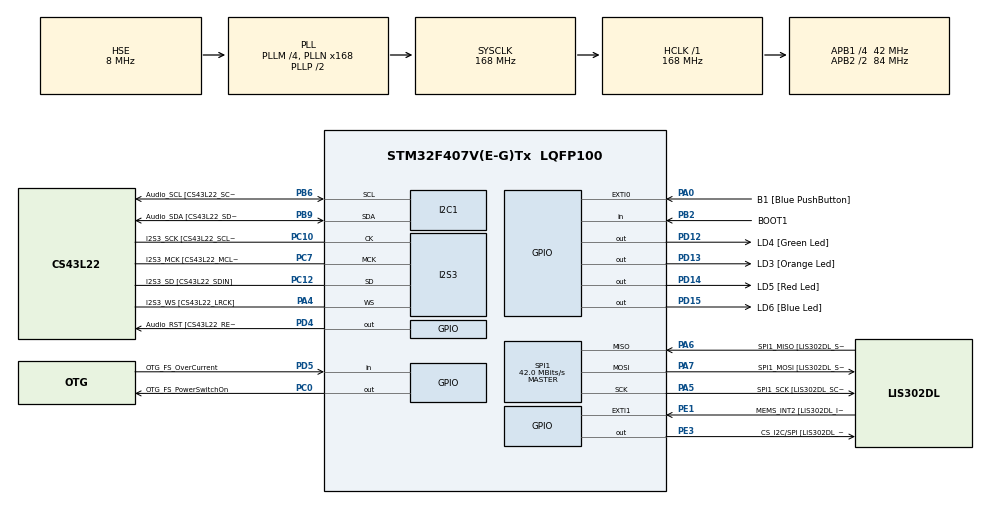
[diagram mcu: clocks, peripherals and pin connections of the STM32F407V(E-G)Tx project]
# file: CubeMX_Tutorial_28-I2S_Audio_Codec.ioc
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Dma.Request0=SPI3_TX
Dma.SPI3_TX.0.Direction=DMA_MEMORY_TO_PERIPH
Dma.SPI3_TX.0.FIFOMode=DMA_FIFOMODE_ENABLE
Dma.SPI3_TX.0.FIFOThreshold=DMA_FIFO_THRESHOLD_FULL
Dma.SPI3_TX.0.Instance=DMA1_Stream5
Dma.SPI3_TX.0.MemBurst=DMA_MBURST_SINGLE
Dma.SPI3_TX.0.MemDataAlignment=DMA_MDATAALIGN_HALFWORD
Dma.SPI3_TX.0.MemInc=DMA_MINC_ENABLE
Dma.SPI3_TX.0.Mode=DMA_CIRCULAR
Dma.SPI3_TX.0.PeriphBurst=DMA_PBURST_SINGLE
Dma.SPI3_TX.0.PeriphDataAlignment=DMA_PDATAALIGN_HALFWORD
Dma.SPI3_TX.0.PeriphInc=DMA_PINC_DISABLE
Dma.SPI3_TX.0.Priority=DMA_PRIORITY_MEDIUM
I2S3.AudioFreq=I2S_AUDIOFREQ_48K
I2S3.ErrorAudioFreq=1.72 %
I2S3.FullDuplexMode=I2S_FULLDUPLEXMODE_DISABLE
I2S3.Instance=SPI$Index
I2S3.RealAudioFreq=48.828 KHz
I2S3.VirtualMode=I2S_MODE_MASTER
Mcu.Family=STM32F4
Mcu.Name=STM32F407V(E-G)Tx
Mcu.Package=LQFP100
NVIC.DMA1_Stream5_IRQn=true\:0\:0\:false\:false\:true\:false\:true
NVIC.PriorityGroup=NVIC_PRIORITYGROUP_0
NVIC.TIM2_IRQn=true\:0\:0\:false\:false\:true\:true\:true
PA0-WKUP.GPIO_Label=B1 [Blue PushButton]
PA0-WKUP.GPIO_ModeDefaultEXTI=GPIO_MODE_EVT_RISING
PA0-WKUP.GPIO_PuPd=GPIO_NOPULL
PA0-WKUP.Signal=GPXTI0
PA10.GPIO_Label=OTG_FS_ID
PA10.GPIO_Mode=GPIO_MODE_AF_PP
PA10.GPIO_PuPd=GPIO_NOPULL
PA10.GPIO_Speed=GPIO_SPEED_FREQ_LOW
PA10.Signal=USB_OTG_FS_ID
PA11.GPIO_Label=OTG_FS_DM
PA11.GPIO_Mode=GPIO_MODE_AF_PP
PA11.GPIO_PuPd=GPIO_NOPULL
PA11.GPIO_Speed=GPIO_SPEED_FREQ_LOW
PA11.Signal=USB_OTG_FS_DM
PA12.GPIO_Label=OTG_FS_DP
PA12.GPIO_Mode=GPIO_MODE_AF_PP
PA12.GPIO_PuPd=GPIO_NOPULL
PA12.GPIO_Speed=GPIO_SPEED_FREQ_LOW
PA12.Signal=USB_OTG_FS_DP
PA13.GPIO_Label=SWDIO
PA13.Mode=Serial_Wire
PA13.Signal=SYS_JTMS-SWDIO
PA14.GPIO_Label=SWCLK
PA14.Mode=Serial_Wire
PA14.Signal=SYS_JTCK-SWCLK
PA4.GPIO_Label=I2S3_WS [CS43L22_LRCK]
PA4.GPIO_Mode=GPIO_MODE_AF_PP
PA4.GPIO_PuPd=GPIO_NOPULL
PA4.GPIO_Speed=GPIO_SPEED_FREQ_LOW
PA4.Mode=Half_Duplex_Master
PA4.Signal=I2S3_WS
PA5.GPIO_Label=SPI1_SCK [LIS302DL_SCL/SPC]
PA5.GPIO_Mode=GPIO_MODE_AF_PP
PA5.GPIO_PuPd=GPIO_NOPULL
PA5.GPIO_Speed=GPIO_SPEED_FREQ_LOW
PA5.Mode=Full_Duplex_Master
PA5.Signal=SPI1_SCK
PA6.GPIO_Label=SPI1_MISO [LIS302DL_SDO]
PA6.GPIO_Mode=GPIO_MODE_AF_PP
PA6.GPIO_PuPd=GPIO_NOPULL
PA6.GPIO_Speed=GPIO_SPEED_FREQ_LOW
PA6.Mode=Full_Duplex_Master
PA6.Signal=SPI1_MISO
PA7.GPIO_Label=SPI1_MOSI [LIS302DL_SDA/SDI/SDO]
PA7.GPIO_Mode=GPIO_MODE_AF_PP
PA7.GPIO_PuPd=GPIO_NOPULL
PA7.GPIO_Speed=GPIO_SPEED_FREQ_LOW
PA7.Mode=Full_Duplex_Master
PA7.Signal=SPI1_MOSI
PA9.GPIO_Label=VBUS_FS
PA9.GPIO_Mode=GPIO_MODE_INPUT
PA9.GPIO_PuPd=GPIO_NOPULL
PA9.Signal=USB_OTG_FS_VBUS
PB10.GPIO_Label=CLK_IN [MP45DT02_CLK]
PB10.GPIO_Mode=GPIO_MODE_AF_PP
PB10.GPIO_PuPd=GPIO_NOPULL
PB10.GPIO_Speed=GPIO_SPEED_FREQ_LOW
PB10.Signal=I2S2_CK
PB2.GPIO_Label=BOOT1
PB2.GPIO_Mode=GPIO_MODE_INPUT
PB2.GPIO_PuPd=GPIO_NOPULL
PB2.Signal=GPIO_Input
PB3.GPIO_Label=SWO
PB3.Signal=SYS_JTDO-SWO
PB6.GPIO_Label=Audio_SCL [CS43L22_SCL]
PB6.GPIO_Mode=GPIO_MODE_AF_OD
PB6.GPIO_PuPd=GPIO_NOPULL
PB6.GPIO_Speed=GPIO_SPEED_FREQ_LOW
PB6.Mode=I2C
PB6.Signal=I2C1_SCL
PB9.GPIO_Label=Audio_SDA [CS43L22_SDA]
PB9.GPIO_Mode=GPIO_MODE_AF_OD
PB9.GPIO_PuPd=GPIO_NOPULL
PB9.GPIO_Speed=GPIO_SPEED_FREQ_LOW
PB9.Mode=I2C
PB9.Signal=I2C1_SDA
PC0.GPIO_Label=OTG_FS_PowerSwitchOn
PC0.GPIO_PuPd=GPIO_NOPULL
PC0.GPIO_Speed=GPIO_SPEED_FREQ_LOW
PC0.PinState=GPIO_PIN_SET
PC0.Signal=GPIO_Output
PC10.GPIO_Label=I2S3_SCK [CS43L22_SCLK]
PC10.GPIO_Mode=GPIO_MODE_AF_PP
PC10.GPIO_PuPd=GPIO_NOPULL
PC10.GPIO_Speed=GPIO_SPEED_FREQ_LOW
PC10.Mode=Half_Duplex_Master
PC10.Signal=I2S3_CK
PC12.GPIO_Label=I2S3_SD [CS43L22_SDIN]
PC12.GPIO_Mode=GPIO_MODE_AF_PP
PC12.GPIO_PuPd=GPIO_NOPULL
PC12.GPIO_Speed=GPIO_SPEED_FREQ_LOW
PC12.Mode=Half_Duplex_Master
PC12.Signal=I2S3_SD
PC14-OSC32_IN.GPIO_Label=PC14-OSC32_IN
PC14-OSC32_IN.Mode=LSE-External-Oscillator
PC14-OSC32_IN.Signal=RCC_OSC32_IN
PC15-OSC32_OUT.GPIO_Label=PC15-OSC32_OUT
PC15-OSC32_OUT.Mode=LSE-External-Oscillator
PC15-OSC32_OUT.Signal=RCC_OSC32_OUT
PC3.GPIO_Label=PDM_OUT [MP45DT02_DOUT]
PC3.GPIO_Mode=GPIO_MODE_AF_PP
PC3.GPIO_PuPd=GPIO_NOPULL
PC3.GPIO_Speed=GPIO_SPEED_FREQ_LOW
PC3.Signal=I2S2_SD
PC7.GPIO_Label=I2S3_MCK [CS43L22_MCLK]
PC7.GPIO_Mode=GPIO_MODE_AF_PP
PC7.GPIO_PuPd=GPIO_NOPULL
PC7.GPIO_Speed=GPIO_SPEED_FREQ_LOW
PC7.Mode=Master_Clock_Activated
PC7.Signal=I2S3_MCK
PD12.GPIO_Label=LD4 [Green Led]
PD12.GPIO_PuPd=GPIO_NOPULL
PD12.GPIO_Speed=GPIO_SPEED_FREQ_LOW
PD12.Signal=GPIO_Output
PD13.GPIO_Label=LD3 [Orange Led]
PD13.GPIO_PuPd=GPIO_NOPULL
PD13.GPIO_Speed=GPIO_SPEED_FREQ_LOW
PD13.Signal=GPIO_Output
PD14.GPIO_Label=LD5 [Red Led]
PD14.GPIO_PuPd=GPIO_NOPULL
PD14.GPIO_Speed=GPIO_SPEED_FREQ_LOW
PD14.Signal=GPIO_Output
PD15.GPIO_Label=LD6 [Blue Led]
PD15.GPIO_PuPd=GPIO_NOPULL
PD15.GPIO_Speed=GPIO_SPEED_FREQ_LOW
PD15.Signal=GPIO_Output
PD4.GPIO_Label=Audio_RST [CS43L22_RESET]
PD4.GPIO_PuPd=GPIO_NOPULL
PD4.GPIO_Speed=GPIO_SPEED_FREQ_LOW
PD4.Signal=GPIO_Output
PD5.GPIO_Label=OTG_FS_OverCurrent
PD5.GPIO_Mode=GPIO_MODE_INPUT
PD5.GPIO_PuPd=GPIO_NOPULL
PD5.Signal=GPIO_Input
PE1.GPIO_Label=MEMS_INT2 [LIS302DL_INT2]
PE1.GPIO_ModeDefaultEXTI=GPIO_MODE_EVT_RISING
PE1.GPIO_PuPd=GPIO_NOPULL
PE1.Signal=GPXTI1
PE3.GPIO_Label=CS_I2C/SPI [LIS302DL_CS_I2C/SPI]
PE3.GPIO_PuPd=GPIO_NOPULL
PE3.GPIO_Speed=GPIO_SPEED_FREQ_LOW
PE3.Signal=GPIO_Output
PH0-OSC_IN.GPIO_Label=PH0-OSC_IN
PH0-OSC_IN.Mode=HSE-External-Oscillator
PH0-OSC_IN.Signal=RCC_OSC_IN
PH1-OSC_OUT.GPIO_Label=PH1-OSC_OUT
PH1-OSC_OUT.Mode=HSE-External-Oscillator
PH1-OSC_OUT.Signal=RCC_OSC_OUT
ProjectManager.HeapSize=0x200
ProjectManager.StackSize=0x400
ProjectManager.TargetToolchain=SW4STM32
RCC.48MHZClocksFreq_Value=48000000
RCC.AHBFreq_Value=168000000
RCC.APB1CLKDivider=RCC_HCLK_DIV4
RCC.APB1Freq_Value=42000000
RCC.APB1TimFreq_Value=84000000
RCC.APB2CLKDivider=RCC_HCLK_DIV2
RCC.APB2Freq_Value=84000000
RCC.APB2TimFreq_Value=168000000
RCC.CortexFreq_Value=168000000
RCC.HCLKFreq_Value=168000000
RCC.HSE_VALUE=8000000
RCC.HSI_VALUE=16000000
RCC.PLLI2SN=50
RCC.PLLM=4
RCC.PLLN=168
RCC.PLLQ=7
RCC.PLLSourceVirtual=RCC_PLLSOURCE_HSE
RCC.SYSCLKFreq_VALUE=168000000
RCC.SYSCLKSource=RCC_SYSCLKSOURCE_PLLCLK
RCC.VCOOutputFreq_Value=336000000
SPI1.BaudRatePrescaler=SPI_BAUDRATEPRESCALER_2
SPI1.BaudRatePrescaler-Full_Duplex_Master=SPI_BAUDRATEPRESCALER_2
SPI1.CalculateBaudRate=42.0 MBits/s
SPI1.CalculateBaudRate-Full_Duplex_Master=42.0 MBits/s
SPI1.Direction=SPI_DIRECTION_2LINES
SPI1.Mode=SPI_MODE_MASTER
SPI1.Mode-Full_Duplex_Master=SPI_MODE_MASTER
SPI1.VirtualType=VM_MASTER
TIM2.Period=20-1
TIM2.Prescaler=84-1
VP_TIM2_VS_ClockSourceINT.Mode=Internal
board=STM32F4DISCOVERY

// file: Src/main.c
/* USER CODE BEGIN Header */
/**
  ******************************************************************************
  * @file           : main.c
  * @brief          : Main program body
  ******************************************************************************
  * @attention
  *
  * <h2><center>&copy; Copyright (c) 2019 STMicroelectronics.
  * All rights reserved.</center></h2>
  *
  * This software component is licensed by ST under BSD 3-Clause license,
  * the "License"; You may not use this file except in compliance with the
  * License. You may obtain a copy of the License at:
  *                        opensource.org/licenses/BSD-3-Clause
  *
  ******************************************************************************
  */
/* USER CODE END Header */

#include "main.h"

/* USER CODE BEGIN Includes */
#include "MY_CS43L22.h"
#include <math.h>
/* USER CODE END Includes */

/* USER CODE BEGIN PD */
#define PI 3.1415926f
#define F_S 48828.0f
#define F_OUT 1000.0f
/* USER CODE END PD */

I2C_HandleTypeDef hi2c1;

I2S_HandleTypeDef hi2s3;
DMA_HandleTypeDef hdma_spi3_tx;

SPI_HandleTypeDef hspi1;

TIM_HandleTypeDef htim2;

/* USER CODE BEGIN PV */
float mySinVal;
float sample_dt;
uint16_t sample_N;
uint16_t i_t;
uint32_t myDacVal;
uint16_t dataI2S[100];
/* USER CODE END PV */

void SystemClock_Config(void);
static void MX_GPIO_Init(void);
static void MX_DMA_Init(void);
static void MX_I2C1_Init(void);
static void MX_I2S3_Init(void);
static void MX_SPI1_Init(void);
static void MX_TIM2_Init(void);

int main(void)
{
  /* USER CODE BEGIN 1 */
  sample_dt = F_OUT/F_S;
  sample_N = F_S/F_OUT;
  /* USER CODE END 1 */

  /* MCU Configuration--------------------------------------------------------*/

  /* Reset of all peripherals, Initializes the Flash interface and the Systick. */
  HAL_Init();

  /* Configure the system clock */
  SystemClock_Config();

  /* Initialize all configured peripherals */
  MX_GPIO_Init();
  MX_DMA_Init();
  MX_I2C1_Init();
  MX_I2S3_Init();
  MX_SPI1_Init();
  MX_TIM2_Init();
  /* USER CODE BEGIN 2 */
  CS43_Init(hi2c1, MODE_I2S);
  CS43_SetVolume(15);
  CS43_Enable_RightLeft(CS43_RIGHT_LEFT);
  CS43_Start();

  //Build Sine wave
	for(uint16_t i=0; i<sample_N; i++)
	{
		mySinVal = sinf(i*2*PI*sample_dt);
		dataI2S[i*2] = (mySinVal )*4000;    //Right data (0 2 4 6 8 10 12)
		dataI2S[i*2 + 1] =(mySinVal )*4000; //Left data  (1 3 5 7 9 11 13)
	}

  HAL_I2S_Transmit_DMA(&hi2s3, (uint16_t *)dataI2S, sample_N*2);

  // HAL_DAC_Start(&hdac, DAC_CHANNEL_1);
  // HAL_TIM_Base_Start_IT(&htim2);
  /* USER CODE END 2 */

  /* Infinite loop */
  while (1)
  {

  }
}

void SystemClock_Config(void)
{
  RCC_OscInitTypeDef RCC_OscInitStruct = {0};
  RCC_ClkInitTypeDef RCC_ClkInitStruct = {0};
  RCC_PeriphCLKInitTypeDef PeriphClkInitStruct = {0};

  /** Configure the main internal regulator output voltage
  */
  __HAL_RCC_PWR_CLK_ENABLE();
  __HAL_PWR_VOLTAGESCALING_CONFIG(PWR_REGULATOR_VOLTAGE_SCALE1);
  /** Initializes the CPU, AHB and APB busses clocks
  */
  RCC_OscInitStruct.OscillatorType = RCC_OSCILLATORTYPE_HSE;
  RCC_OscInitStruct.HSEState = RCC_HSE_ON;
  RCC_OscInitStruct.PLL.PLLState = RCC_PLL_ON;
  RCC_OscInitStruct.PLL.PLLSource = RCC_PLLSOURCE_HSE;
  RCC_OscInitStruct.PLL.PLLM = 4;
  RCC_OscInitStruct.PLL.PLLN = 168;
  RCC_OscInitStruct.PLL.PLLP = RCC_PLLP_DIV2;
  RCC_OscInitStruct.PLL.PLLQ = 7;
  if (HAL_RCC_OscConfig(&RCC_OscInitStruct) != HAL_OK)
  {
    Error_Handler();
  }
  /** Initializes the CPU, AHB and APB busses clocks
  */
  RCC_ClkInitStruct.ClockType = RCC_CLOCKTYPE_HCLK|RCC_CLOCKTYPE_SYSCLK
                              |RCC_CLOCKTYPE_PCLK1|RCC_CLOCKTYPE_PCLK2;
  RCC_ClkInitStruct.SYSCLKSource = RCC_SYSCLKSOURCE_PLLCLK;
  RCC_ClkInitStruct.AHBCLKDivider = RCC_SYSCLK_DIV1;
  RCC_ClkInitStruct.APB1CLKDivider = RCC_HCLK_DIV4;
  RCC_ClkInitStruct.APB2CLKDivider = RCC_HCLK_DIV2;

  if (HAL_RCC_ClockConfig(&RCC_ClkInitStruct, FLASH_LATENCY_5) != HAL_OK)
  {
    Error_Handler();
  }
  PeriphClkInitStruct.PeriphClockSelection = RCC_PERIPHCLK_I2S;
  PeriphClkInitStruct.PLLI2S.PLLI2SN = 50;
  PeriphClkInitStruct.PLLI2S.PLLI2SR = 2;
  if (HAL_RCCEx_PeriphCLKConfig(&PeriphClkInitStruct) != HAL_OK)
  {
    Error_Handler();
  }
}

static void MX_I2C1_Init(void)
{

  hi2c1.Instance = I2C1;
  hi2c1.Init.ClockSpeed = 100000;
  hi2c1.Init.DutyCycle = I2C_DUTYCYCLE_2;
  hi2c1.Init.OwnAddress1 = 0;
  hi2c1.Init.AddressingMode = I2C_ADDRESSINGMODE_7BIT;
  hi2c1.Init.DualAddressMode = I2C_DUALADDRESS_DISABLE;
  hi2c1.Init.OwnAddress2 = 0;
  hi2c1.Init.GeneralCallMode = I2C_GENERALCALL_DISABLE;
  hi2c1.Init.NoStretchMode = I2C_NOSTRETCH_DISABLE;
  if (HAL_I2C_Init(&hi2c1) != HAL_OK)
  {
    Error_Handler();
  }

}

static void MX_I2S3_Init(void)
{

  hi2s3.Instance = SPI3;
  hi2s3.Init.Mode = I2S_MODE_MASTER_TX;
  hi2s3.Init.Standard = I2S_STANDARD_PHILIPS;
  hi2s3.Init.DataFormat = I2S_DATAFORMAT_16B;
  hi2s3.Init.MCLKOutput = I2S_MCLKOUTPUT_ENABLE;
  hi2s3.Init.AudioFreq = I2S_AUDIOFREQ_48K;
  hi2s3.Init.CPOL = I2S_CPOL_LOW;
  hi2s3.Init.ClockSource = I2S_CLOCK_PLL;
  hi2s3.Init.FullDuplexMode = I2S_FULLDUPLEXMODE_DISABLE;
  if (HAL_I2S_Init(&hi2s3) != HAL_OK)
  {
    Error_Handler();
  }

}

static void MX_SPI1_Init(void)
{

  /* SPI1 parameter configuration*/
  hspi1.Instance = SPI1;
  hspi1.Init.Mode = SPI_MODE_MASTER;
  hspi1.Init.Direction = SPI_DIRECTION_2LINES;
  hspi1.Init.DataSize = SPI_DATASIZE_8BIT;
  hspi1.Init.CLKPolarity = SPI_POLARITY_LOW;
  hspi1.Init.CLKPhase = SPI_PHASE_1EDGE;
  hspi1.Init.NSS = SPI_NSS_SOFT;
  hspi1.Init.BaudRatePrescaler = SPI_BAUDRATEPRESCALER_2;
  hspi1.Init.FirstBit = SPI_FIRSTBIT_MSB;
  hspi1.Init.TIMode = SPI_TIMODE_DISABLE;
  hspi1.Init.CRCCalculation = SPI_CRCCALCULATION_DISABLE;
  hspi1.Init.CRCPolynomial = 10;
  if (HAL_SPI_Init(&hspi1) != HAL_OK)
  {
    Error_Handler();
  }

}

static void MX_TIM2_Init(void)
{

  TIM_ClockConfigTypeDef sClockSourceConfig = {0};
  TIM_MasterConfigTypeDef sMasterConfig = {0};

  htim2.Instance = TIM2;
  htim2.Init.Prescaler = 84-1;
  htim2.Init.CounterMode = TIM_COUNTERMODE_UP;
  htim2.Init.Period = 20-1;
  htim2.Init.ClockDivision = TIM_CLOCKDIVISION_DIV1;
  htim2.Init.AutoReloadPreload = TIM_AUTORELOAD_PRELOAD_DISABLE;
  if (HAL_TIM_Base_Init(&htim2) != HAL_OK)
  {
    Error_Handler();
  }
  sClockSourceConfig.ClockSource = TIM_CLOCKSOURCE_INTERNAL;
  if (HAL_TIM_ConfigClockSource(&htim2, &sClockSourceConfig) != HAL_OK)
  {
    Error_Handler();
  }
  sMasterConfig.MasterOutputTrigger = TIM_TRGO_RESET;
  sMasterConfig.MasterSlaveMode = TIM_MASTERSLAVEMODE_DISABLE;
  if (HAL_TIMEx_MasterConfigSynchronization(&htim2, &sMasterConfig) != HAL_OK)
  {
    Error_Handler();
  }

}

static void MX_DMA_Init(void)
{
  /* DMA controller clock enable */
  __HAL_RCC_DMA1_CLK_ENABLE();

  /* DMA interrupt init */
  /* DMA1_Stream5_IRQn interrupt configuration */
  HAL_NVIC_SetPriority(DMA1_Stream5_IRQn, 0, 0);
  HAL_NVIC_EnableIRQ(DMA1_Stream5_IRQn);

}

static void MX_GPIO_Init(void)
{
  GPIO_InitTypeDef GPIO_InitStruct = {0};

  /* GPIO Ports Clock Enable */
  __HAL_RCC_GPIOE_CLK_ENABLE();
  __HAL_RCC_GPIOC_CLK_ENABLE();
  __HAL_RCC_GPIOH_CLK_ENABLE();
  __HAL_RCC_GPIOA_CLK_ENABLE();
  __HAL_RCC_GPIOB_CLK_ENABLE();
  __HAL_RCC_GPIOD_CLK_ENABLE();

  /*Configure GPIO pin Output Level */
  HAL_GPIO_WritePin(CS_I2C_SPI_GPIO_Port, CS_I2C_SPI_Pin, GPIO_PIN_RESET);

  /*Configure GPIO pin Output Level */
  HAL_GPIO_WritePin(OTG_FS_PowerSwitchOn_GPIO_Port, OTG_FS_PowerSwitchOn_Pin, GPIO_PIN_SET);

  /*Configure GPIO pin Output Level */
  HAL_GPIO_WritePin(GPIOD, LD4_Pin|LD3_Pin|LD5_Pin|LD6_Pin
                          |Audio_RST_Pin, GPIO_PIN_RESET);

  /*Configure GPIO pin : CS_I2C_SPI_Pin */
  GPIO_InitStruct.Pin = CS_I2C_SPI_Pin;
  GPIO_InitStruct.Mode = GPIO_MODE_OUTPUT_PP;
  GPIO_InitStruct.Pull = GPIO_NOPULL;
  GPIO_InitStruct.Speed = GPIO_SPEED_FREQ_LOW;
  HAL_GPIO_Init(CS_I2C_SPI_GPIO_Port, &GPIO_InitStruct);

  /*Configure GPIO pin : OTG_FS_PowerSwitchOn_Pin */
  GPIO_InitStruct.Pin = OTG_FS_PowerSwitchOn_Pin;
  GPIO_InitStruct.Mode = GPIO_MODE_OUTPUT_PP;
  GPIO_InitStruct.Pull = GPIO_NOPULL;
  GPIO_InitStruct.Speed = GPIO_SPEED_FREQ_LOW;
  HAL_GPIO_Init(OTG_FS_PowerSwitchOn_GPIO_Port, &GPIO_InitStruct);

  /*Configure GPIO pin : PDM_OUT_Pin */
  GPIO_InitStruct.Pin = PDM_OUT_Pin;
  GPIO_InitStruct.Mode = GPIO_MODE_AF_PP;
  GPIO_InitStruct.Pull = GPIO_NOPULL;
  GPIO_InitStruct.Speed = GPIO_SPEED_FREQ_LOW;
  GPIO_InitStruct.Alternate = GPIO_AF5_SPI2;
  HAL_GPIO_Init(PDM_OUT_GPIO_Port, &GPIO_InitStruct);

  /*Configure GPIO pin : B1_Pin */
  GPIO_InitStruct.Pin = B1_Pin;
  GPIO_InitStruct.Mode = GPIO_MODE_EVT_RISING;
  GPIO_InitStruct.Pull = GPIO_NOPULL;
  HAL_GPIO_Init(B1_GPIO_Port, &GPIO_InitStruct);

  /*Configure GPIO pin : BOOT1_Pin */
  GPIO_InitStruct.Pin = BOOT1_Pin;
  GPIO_InitStruct.Mode = GPIO_MODE_INPUT;
  GPIO_InitStruct.Pull = GPIO_NOPULL;
  HAL_GPIO_Init(BOOT1_GPIO_Port, &GPIO_InitStruct);

  /*Configure GPIO pin : CLK_IN_Pin */
  GPIO_InitStruct.Pin = CLK_IN_Pin;
  GPIO_InitStruct.Mode = GPIO_MODE_AF_PP;
  GPIO_InitStruct.Pull = GPIO_NOPULL;
  GPIO_InitStruct.Speed = GPIO_SPEED_FREQ_LOW;
  GPIO_InitStruct.Alternate = GPIO_AF5_SPI2;
  HAL_GPIO_Init(CLK_IN_GPIO_Port, &GPIO_InitStruct);

  /*Configure GPIO pins : LD4_Pin LD3_Pin LD5_Pin LD6_Pin
                           Audio_RST_Pin */
  GPIO_InitStruct.Pin = LD4_Pin|LD3_Pin|LD5_Pin|LD6_Pin
                          |Audio_RST_Pin;
  GPIO_InitStruct.Mode = GPIO_MODE_OUTPUT_PP;
  GPIO_InitStruct.Pull = GPIO_NOPULL;
  GPIO_InitStruct.Speed = GPIO_SPEED_FREQ_LOW;
  HAL_GPIO_Init(GPIOD, &GPIO_InitStruct);

  /*Configure GPIO pin : VBUS_FS_Pin */
  GPIO_InitStruct.Pin = VBUS_FS_Pin;
  GPIO_InitStruct.Mode = GPIO_MODE_INPUT;
  GPIO_InitStruct.Pull = GPIO_NOPULL;
  HAL_GPIO_Init(VBUS_FS_GPIO_Port, &GPIO_InitStruct);

  /*Configure GPIO pins : OTG_FS_ID_Pin OTG_FS_DM_Pin OTG_FS_DP_Pin */
  GPIO_InitStruct.Pin = OTG_FS_ID_Pin|OTG_FS_DM_Pin|OTG_FS_DP_Pin;
  GPIO_InitStruct.Mode = GPIO_MODE_AF_PP;
  GPIO_InitStruct.Pull = GPIO_NOPULL;
  GPIO_InitStruct.Speed = GPIO_SPEED_FREQ_LOW;
  GPIO_InitStruct.Alternate = GPIO_AF10_OTG_FS;
  HAL_GPIO_Init(GPIOA, &GPIO_InitStruct);

  /*Configure GPIO pin : OTG_FS_OverCurrent_Pin */
  GPIO_InitStruct.Pin = OTG_FS_OverCurrent_Pin;
  GPIO_InitStruct.Mode = GPIO_MODE_INPUT;
  GPIO_InitStruct.Pull = GPIO_NOPULL;
  HAL_GPIO_Init(OTG_FS_OverCurrent_GPIO_Port, &GPIO_InitStruct);

  /*Configure GPIO pin : MEMS_INT2_Pin */
  GPIO_InitStruct.Pin = MEMS_INT2_Pin;
  GPIO_InitStruct.Mode = GPIO_MODE_EVT_RISING;
  GPIO_InitStruct.Pull = GPIO_NOPULL;
  HAL_GPIO_Init(MEMS_INT2_GPIO_Port, &GPIO_InitStruct);

}

/* USER CODE BEGIN 4 */

//void HAL_TIM_PeriodElapsedCallback(TIM_HandleTypeDef *htim)
//{
//  /* Prevent unused argument(s) compilation warning */
//  UNUSED(htim);
//
//  /* NOTE : This function should not be modified, when the callback is needed,
//            the HAL_TIM_PeriodElapsedCallback could be implemented in the user file
//   */
//  if(htim->Instance == TIM2){
//	  mySinVal = sinf(i_t * 2 * PI * sample_dt);
//	  myDacVal = (mySinVal + 1)*127;
//	  HAL_DAC_SetValue(&hdac, DAC_CHANNEL_1, DAC_ALIGN_8B_R, myDacVal);
//	  i_t++;
//	  if(i_t >= sample_N) i_t = 0;
//  }
//
//
//}

/* USER CODE END 4 */

void Error_Handler(void)
{
}

/************************ (C) COPYRIGHT STMicroelectronics *****END OF FILE****/
